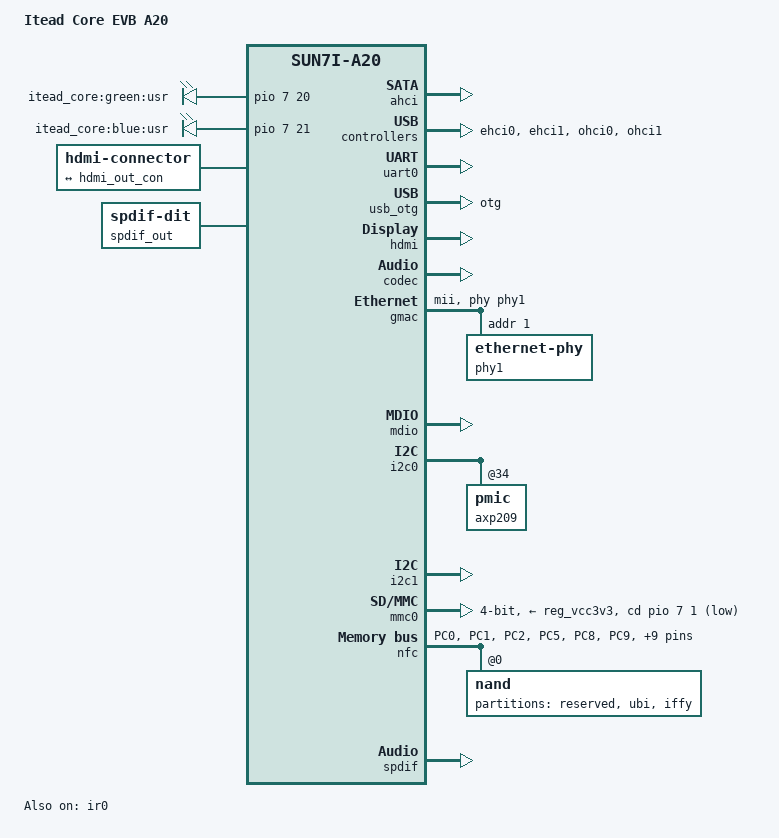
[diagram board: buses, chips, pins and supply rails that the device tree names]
/*
 * Device tree for "Itead Core EVB A20"
 */

/dts-v1/;
#include "sun7i-a20.dtsi"
#include "sunxi-itead-core-common.dtsi"
#include "dt-bindings/pinctrl/sun4i-a10.h"

/ {
	model = "Itead Core EVB A20";
	compatible = "itead,itead-coreEVB-a20", "allwinner,sun7i-a20";

	#address-cells = <1>;
	#size-cells = <1>;
	chosen {
		stdout-path = "serial0:115200n8";
	};
	aliases {
		serial0 = &uart0;
	};
	memory { device_type = "memory"; reg = <0 0>; };

	leds {
		compatible = "gpio-leds";
		pinctrl-names = "default";
		pinctrl-0 = <&led_pins_itead_core>;

		green {
			label = "itead_core:green:usr";
			gpios = <&pio 7 20 GPIO_ACTIVE_HIGH>;
			default-state = "on";
		};

		blue {
			label = "itead_core:blue:usr";
			gpios = <&pio 7 21 GPIO_ACTIVE_HIGH>;
			default-state = "on";
		};
	};

	sound {
		compatible = "simple-audio-card";
		simple-audio-card,name = "On-board SPDIF";

		simple-audio-card,cpu {
			sound-dai = <&spdif>;
		};

		simple-audio-card,codec {
			sound-dai = <&spdif_out>;
		};
	};

	hdmi-connector {
		compatible = "hdmi-connector";
		type = "a";
		port {
			hdmi_con_in: endpoint {
				remote-endpoint = <&hdmi_out_con>;
			};
		};
	};

	spdif_out: spdif-out {
		#sound-dai-cells = <0>;
		compatible = "linux,spdif-dit";
	};
};

&ahci {
	target-supply = <&reg_ahci_5v>;
	status = "okay";
};

&ehci0 {
	status = "okay";
};

&ehci1 {
	status = "okay";
};

&ohci0 {
	status = "okay";
};

&ohci1 {
	status = "okay";
};

&uart0 {
	pinctrl-names = "default";
	pinctrl-0 = <&uart0_pb_pins>;
	status = "okay";
};

&usb_otg {
	dr_mode = "otg";
	status = "okay";
};

&otg_sram {
        status = "okay";
};

&hdmi {
	status = "okay";
};

&hdmi_out {
	hdmi_out_con: endpoint {
		remote-endpoint = <&hdmi_con_in>;
	};
};

&codec {
	status = "okay";
};

&gmac {
	pinctrl-names = "default";
	pinctrl-0 = <&gmac_mii_pins>;
	phy = <&phy1>;
	phy-mode = "mii";
	status = "okay";

	phy1: ethernet-phy@1 {
		reg = <1>;
	};
};

&mdio {
	status = "okay";

	/*
	phy1: ethernet-phy@1 {
		reg= <1>;
	};
	*/
};

&i2c0 {
	axp209: pmic@34 {
		interrupt-parent = <&nmi_intc>;
		interrupts = <0 IRQ_TYPE_LEVEL_LOW>;
	};
};

&i2c1 {
	status = "okay";
};

&ir0 {
	pinctrl-names = "default";
	pinctrl-0 = <&ir0_rx_pin>;
	status = "okay";
};

&mmc0 {
	vmmc-supply = <&reg_vcc3v3>;
	bus-width = <4>;
	cd-gpios = <&pio 7 1 GPIO_ACTIVE_LOW>; /* PH1 */
	status = "okay";
};

&nfc {
	pinctrl-names = "default";
	pinctrl-0 = <&nand_pins_a>, <&nand_cs0_pins_a>, <&nand_rb0_pins_a>;
	status = "okay";

	nand@0 {
		#address-cells = <2>;
		#size-cells = <2>;
		reg = <0>;
		allwinner,rb = <0>;

		nand-ecc-mode = "hw";
		nand-on-flash-bbt;

		partitions {
			compatible = "fixed-partitions";
			#address-cells = <2>;
			#size-cells = <2>;

			partition@000000000 {
				label = "reserved";
				reg = /bits/ 64 <0x000000000 0x002000000>;
				read-only;
			};
			partition@100000000 {
				label = "ubi";
				reg = /bits/ 64 <0x002000000 0x0fa000000>;
			};
			partition@180000000 {
				label = "iffy";
				reg = /bits/ 64 <0x0fc000000 0x004000000>;
			};
		};
	};
};

&pio {
#if 0	/* maybe? */
	ahci_pwr_pin_itead_core_evb: ahci_pwr_pin@1 {
	/* Align with Itead_CoreEVB_A20_defconfig, where we have:
		CONFIG_SATAPWR="PH12"
	 */
		allwinner,pins = "PH12";
		allwinner,function = "gpio_out";
		allwinner,drive = <SUN4I_PINCTRL_10_MA>;
		allwinner,pull = <SUN4I_PINCTRL_NO_PULL>;
	};
#endif

	led_pins_itead_core: led-pins@0 {
		pins = "PH20","PH21";
		function = "gpio_out";
		drive-strength = <20>;
	};

#if 1	/* "U-Boot alternative" (codekipper@gmail.com original) */
	/* Align to Itead_CoreEVB_A20_defconfig, where we have:
		CONFIG_USB0_VBUS_DET="PH22"
		CONFIG_USB0_ID_DET="PH19"
	 */
	usb0_id_detect_pin: usb0_id_detect_pin@0 {
		allwinner,pins = "PH19";
		allwinner,function = "gpio_in";
		allwinner,drive = <SUN4I_PINCTRL_10_MA>;
		allwinner,pull = <SUN4I_PINCTRL_NO_PULL>;
	};

	usb0_vbus_detect_pin: usb0_vbus_detect_pin@0 {
		allwinner,pins = "PH22";
		allwinner,function = "gpio_in";
		allwinner,drive = <SUN4I_PINCTRL_10_MA>;
		allwinner,pull = <SUN4I_PINCTRL_NO_PULL>;
	};
#else	/* matches Marsboard */
	usb0_id_detect_pin: usb0-id-detect-pin {
		pins = "PH4";
		function = "gpio_in";
		bias-pull-up;
	};
#endif

	nand_pins_a: nand_base0@0 {
		allwinner,pins = "PC0", "PC1", "PC2",
				"PC5", "PC8", "PC9", "PC10",
				"PC11", "PC12", "PC13", "PC14",
				"PC15", "PC16";
		allwinner,function = "nand0";
		allwinner,drive = <SUN4I_PINCTRL_10_MA>;
		allwinner,pull = <SUN4I_PINCTRL_NO_PULL>;
	};

	nand_cs0_pins_a: nand_cs@0 {
		allwinner,pins = "PC4";
		allwinner,function = "nand0";
		allwinner,drive = <SUN4I_PINCTRL_10_MA>;
		allwinner,pull = <SUN4I_PINCTRL_NO_PULL>;
	};

	nand_cs1_pins_a: nand_cs@1 {
		allwinner,pins = "PC3";
		allwinner,function = "nand0";
		allwinner,drive = <SUN4I_PINCTRL_10_MA>;
		allwinner,pull = <SUN4I_PINCTRL_NO_PULL>;
	};

	nand_cs2_pins_a: nand_cs@2 {
		allwinner,pins = "PC17";
		allwinner,function = "nand0";
		allwinner,drive = <SUN4I_PINCTRL_10_MA>;
		allwinner,pull = <SUN4I_PINCTRL_NO_PULL>;
	};

	nand_cs3_pins_a: nand_cs@3 {
		allwinner,pins = "PC18";
		allwinner,function = "nand0";
		allwinner,drive = <SUN4I_PINCTRL_10_MA>;
		allwinner,pull = <SUN4I_PINCTRL_NO_PULL>;
	};

	nand_rb0_pins_a: nand_rb@0 {
		allwinner,pins = "PC6";
		allwinner,function = "nand0";
		allwinner,drive = <SUN4I_PINCTRL_10_MA>;
		allwinner,pull = <SUN4I_PINCTRL_NO_PULL>;
	};

	nand_rb1_pins_a: nand_rb@1 {
		allwinner,pins = "PC7";
		allwinner,function = "nand0";
		allwinner,drive = <SUN4I_PINCTRL_10_MA>;
		allwinner,pull = <SUN4I_PINCTRL_NO_PULL>;
	};

#if 0	/* maybe? */
	usb0_vbus_pin_a: usb0_vbus_pin@0 {
	/* Matches U-Boot Itead_CoreEVB_A20_defconfig, where we have:
		CONFIG_USB0_VBUS_PIN="PH17"
	 */
		allwinner,pins = "PH17";
		allwinner,function = "gpio_out";
		allwinner,drive = <SUN4I_PINCTRL_10_MA>;
		allwinner,pull = <SUN4I_PINCTRL_NO_PULL>;
	};
#endif
};

&reg_ahci_5v {
#if 0	/* TODO: maybe? */
	pinctrl-0 = <&ahci_pwr_pin_itead_core_evb>;
	gpio = <&pio 7 12 GPIO_ACTIVE_HIGH>;
#endif
	status = "okay";
};

#if 0	/* maybe? [WmT] codekipper@gmail.com original */
&reg_usb0_vbus {
	pinctrl-0 = <&usb0_vbus_pin_a>;
	gpio = <&pio 7 17 GPIO_ACTIVE_HIGH>;
	status = "okay";
};
#endif

&reg_usb1_vbus {
	status = "okay";
};

&reg_usb2_vbus {
	status = "okay";
};

&usbphy {
	pinctrl-names = "default";
	pintctrl-0 = <&usb0_id_detect_pin>;
	usb0_id_det-gpio = <&pio 7 4 GPIO_ACTIVE_HIGH>;
	usb1_vbus-supply = <&reg_usb1_vbus>;
	usb2_vbus-supply = <&reg_usb2_vbus>;
};

&spdif {
	pinctrl-names = "default";
	pinctrl-0 = <&spdif_tx_pin>;
	status = "okay";
};
